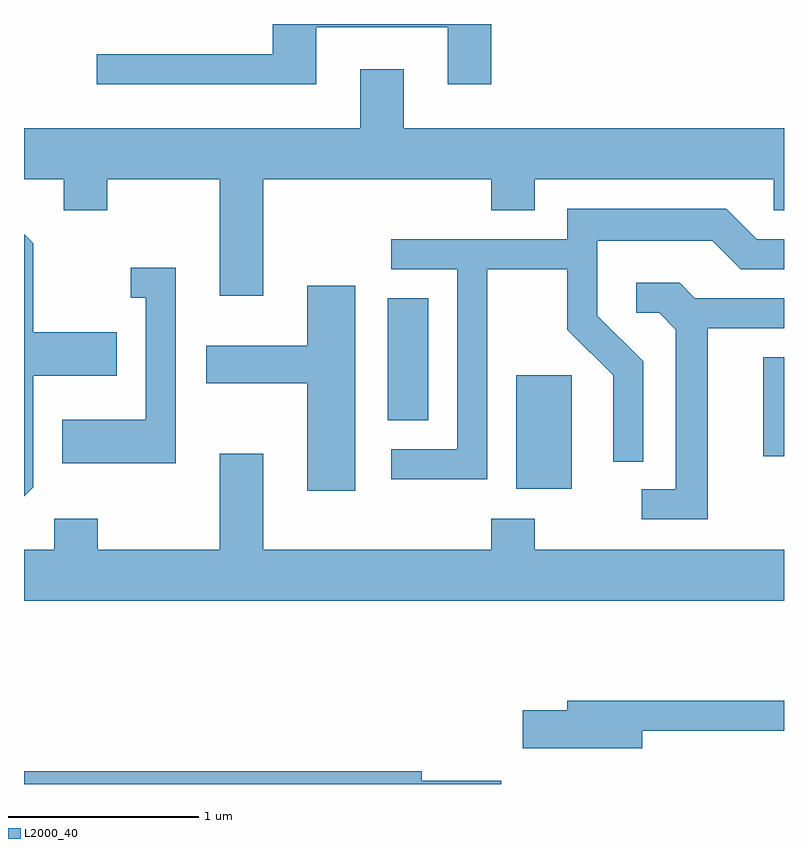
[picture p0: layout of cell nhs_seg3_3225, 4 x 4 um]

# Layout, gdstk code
import gdstk
lib = gdstk.Library(unit=1e-6, precision=1e-09)
def R(c, l, rs):  # rectangles x0, y0, x1, y1
    for r in rs: c.add(gdstk.rectangle(r[:2], r[2:], *l))
def P(c, l, *ps):  # polygons
    for p in ps: c.add(gdstk.Polygon(p, *l))
L2000_40 = (2000, 40)

nhs_seg3_3225 = lib.new_cell('nhs_seg3_3225')
R(nhs_seg3_3225, L2000_40, [(282.201,1175.446,282.494,1176.044), (283.501,1175.616,283.611,1176.139), (281.526,1175.806,281.739,1176.449)])
P(nhs_seg3_3225, L2000_40, [(281.149,1177.876),(281.841,1177.876),(281.841,1177.576),(282.069,1177.576),(282.069,1177.892),(280.921,1177.892),(280.921,1177.734),(279.993,1177.734),(279.993,1177.576),(281.149,1177.576)],
  [(280.869,1177.076),(282.071,1177.076),(282.071,1176.911),(282.299,1176.911),(282.299,1177.076),(283.556,1177.076),(283.556,1176.911),(283.611,1176.911),(283.611,1177.344),(281.609,1177.344),(281.609,1177.654),(281.381,1177.654),(281.381,1177.344),(279.611,1177.344),(279.611,1177.076),(279.821,1177.076),(279.821,1176.911),(280.049,1176.911),(280.049,1177.076),(280.641,1177.076),(280.641,1176.461),(280.869,1176.461)],
  [(282.049,1176.601),(282.471,1176.601),(282.471,1176.284),(282.711,1176.044),(282.711,1175.588),(282.869,1175.588),(282.869,1176.117),(282.629,1176.357),(282.629,1176.751),(283.234,1176.751),(283.384,1176.601),(283.611,1176.601),(283.611,1176.759),(283.467,1176.759),(283.307,1176.919),(282.471,1176.919),(282.471,1176.759),(281.543,1176.759),(281.543,1176.601),(281.891,1176.601),(281.891,1175.654),(281.543,1175.654),(281.543,1175.496),(282.049,1175.496)],
  [(279.659,1175.454),(279.659,1176.041),(280.099,1176.041),(280.099,1176.269),(279.659,1176.269),(279.659,1176.737),(279.611,1176.785),(279.611,1175.406)],
  [(280.409,1176.609),(280.173,1176.609),(280.173,1176.451),(280.251,1176.451),(280.251,1175.809),(279.811,1175.809),(279.811,1175.581),(280.409,1175.581)],
  [(283.209,1176.291),(283.611,1176.291),(283.611,1176.449),(283.142,1176.449),(283.062,1176.529),(282.833,1176.529),(282.833,1176.371),(282.954,1176.371),(283.041,1176.284),(283.041,1175.444),(282.863,1175.444),(282.863,1175.286),(283.209,1175.286)],
  [(281.354,1176.514),(281.101,1176.514),(281.101,1176.199),(280.571,1176.199),(280.571,1176.001),(281.101,1176.001),(281.101,1175.436),(281.354,1175.436)],
  [(283.611,1175.124),(282.299,1175.124),(282.299,1175.289),(282.071,1175.289),(282.071,1175.124),(280.869,1175.124),(280.869,1175.629),(280.641,1175.629),(280.641,1175.124),(279.999,1175.124),(279.999,1175.289),(279.771,1175.289),(279.771,1175.124),(279.611,1175.124),(279.611,1174.856),(283.611,1174.856)],
  [(282.864,1174.171),(283.611,1174.171),(283.611,1174.329),(282.471,1174.329),(282.471,1174.279),(282.236,1174.279),(282.236,1174.081),(282.864,1174.081)],
  [(282.124,1173.909),(281.704,1173.909),(281.704,1173.959),(279.611,1173.959),(279.611,1173.892),(282.124,1173.892)])

lib.write_gds('nhs_seg3_3225.gds')
